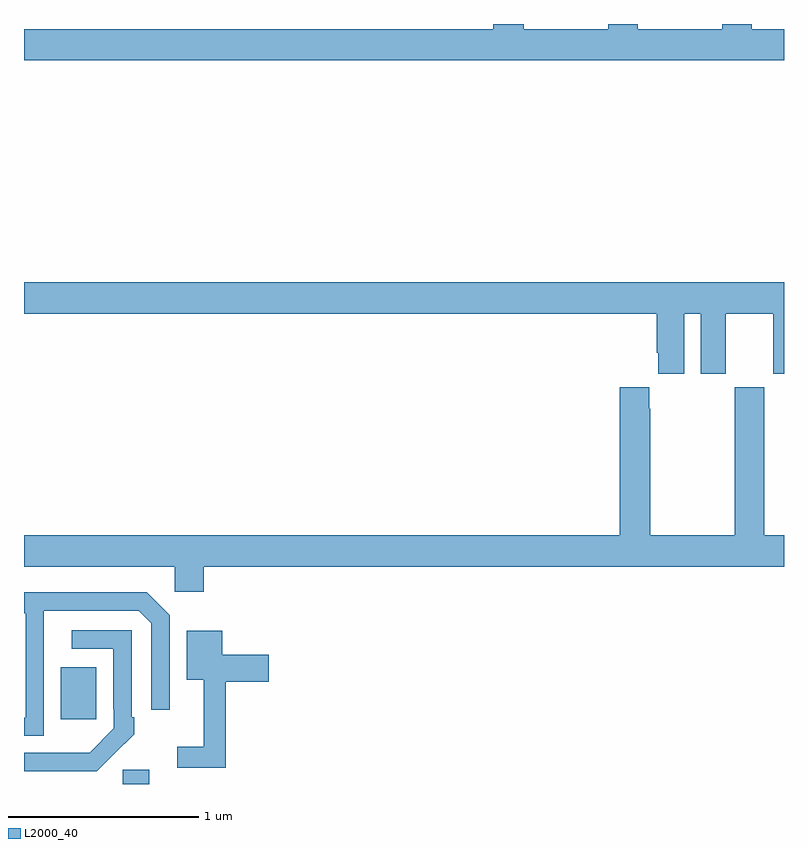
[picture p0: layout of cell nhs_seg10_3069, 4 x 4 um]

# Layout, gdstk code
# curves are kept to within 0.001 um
import gdstk
lib = gdstk.Library(unit=1e-6, precision=1e-09)
def R(c, l, rs):  # rectangles x0, y0, x1, y1
    for r in rs: c.add(gdstk.rectangle(r[:2], r[2:], *l))
def P(c, l, *ps):  # polygons
    for p in ps: c.add(gdstk.Polygon(p, *l))
L2000_40 = (2000, 40)

nhs_seg10_3069 = lib.new_cell('nhs_seg10_3069')
R(nhs_seg10_3069, L2000_40, [(277.521,1304.5,277.66,1304.574), (277.193,1304.841,277.381,1305.115)])
P(nhs_seg10_3069, L2000_40, [(280.675,1308.5),(280.675,1308.472),(280.23,1308.472),(280.23,1308.5),(280.075,1308.5),(280.075,1308.472),(279.63,1308.472),(279.63,1308.5),(279.47,1308.5),(279.47,1308.472),(277,1308.472),(277,1308.308),(281,1308.308),(281,1308.472),(280.83,1308.472),(280.83,1308.5)],
  [(280.474,1306.976),(280.562,1306.976),(280.562,1306.659),(280.693,1306.659),(280.693,1306.976),(280.943,1306.976),(280.943,1306.659),(281,1306.659),(281,1307.14),(277,1307.14),(277,1306.976),(280.331,1306.976),(280.331,1306.771),(280.337,1306.771),(280.337,1306.659),(280.474,1306.659)],
  [(277.946,1305.644),(281,1305.644),(281,1305.808),(280.896,1305.808),(280.896,1306.588),(280.741,1306.588),(280.741,1305.808),(280.296,1305.808),(280.296,1306.475),(280.291,1306.475),(280.291,1306.588),(280.136,1306.588),(280.136,1305.808),(277,1305.808),(277,1305.644),(277.794,1305.644),(277.794,1305.513),(277.946,1305.513)],
  [(277.104,1305.211),(277.105,1305.411),(277.605,1305.411),(277.671,1305.345),(277.671,1304.892),(277.767,1304.892),(277.767,1305.387),(277.646,1305.508),(277,1305.508),(277,1305.398),(277.008,1305.398),(277.008,1304.85),(277,1304.85),(277,1304.754),(277.104,1304.754)],
  [(277.475,1304.659),(277.476,1304.658),(277.581,1304.763),(277.581,1304.851),(277.566,1304.851),(277.566,1305.309),(277.251,1305.309),(277.251,1305.213),(277.47,1305.213),(277.47,1304.893),(277.473,1304.893),(277.473,1304.793),(277.345,1304.665),(277,1304.664),(277,1304.568),(277.384,1304.568)],
  [(278.063,1305.038),(278.287,1305.038),(278.287,1305.18),(278.044,1305.18),(278.044,1305.307),(277.856,1305.307),(277.856,1305.05),(277.946,1305.05),(277.946,1304.695),(277.806,1304.695),(277.806,1304.586),(278.063,1304.586)])

lib.write_gds('nhs_seg10_3069.gds')
